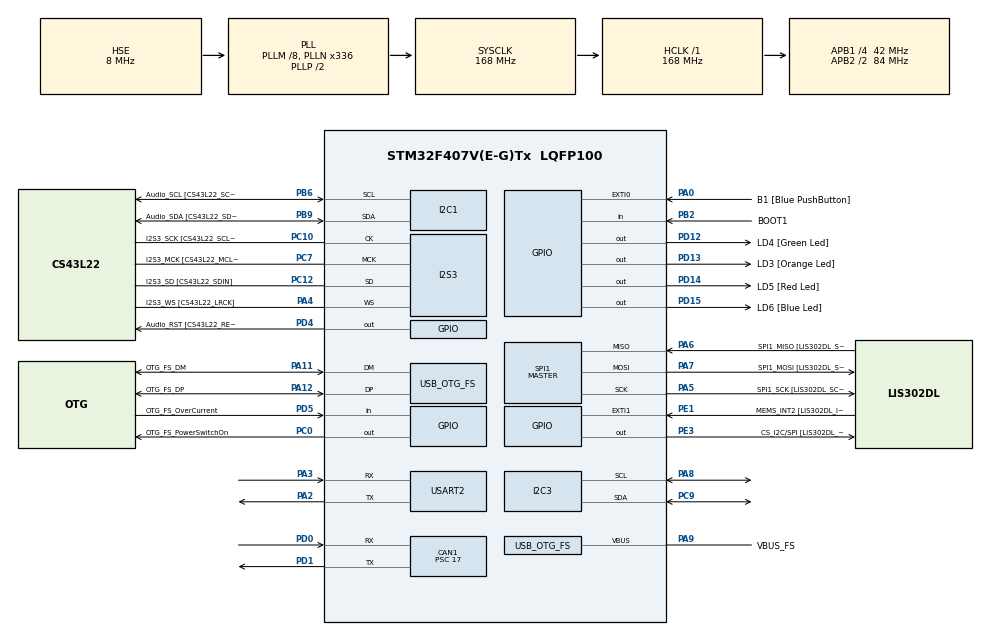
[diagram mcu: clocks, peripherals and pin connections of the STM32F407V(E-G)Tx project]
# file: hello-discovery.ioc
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CAN1.BS1=CAN_BS1_6TQ
CAN1.BS2=CAN_BS2_3TQ
CAN1.CalculateBaudRate=247058
CAN1.CalculateTimeBit=4047
CAN1.CalculateTimeQuantum=404.76190476190476
CAN1.Prescaler=17
I2C3.I2C_Mode=I2C_Fast
I2S3.AudioFreq-Half_Duplex_Master=I2S_AUDIOFREQ_96K
I2S3.ErrorAudioFreq=-2.34 %
I2S3.ErrorAudioFreq-Half_Duplex_Master=0.8 %
I2S3.FullDuplexMode=I2S_FULLDUPLEXMODE_DISABLE
I2S3.Instance=SPI$Index
I2S3.RealAudioFreq=93.75 KHz
I2S3.RealAudioFreq-Half_Duplex_Master=96.774 KHz
I2S3.VirtualMode=I2S_MODE_MASTER
Mcu.Family=STM32F4
Mcu.Name=STM32F407V(E-G)Tx
Mcu.Package=LQFP100
NVIC.CAN1_RX0_IRQn=true\:0\:0\:false\:false\:true\:true\:true\:true
NVIC.OTG_FS_IRQn=true\:0\:0\:false\:false\:true\:true\:true\:true
NVIC.PriorityGroup=NVIC_PRIORITYGROUP_0
PA0-WKUP.GPIO_Label=B1 [Blue PushButton]
PA0-WKUP.GPIO_ModeDefaultEXTI=GPIO_MODE_EVT_RISING
PA0-WKUP.GPIO_PuPd=GPIO_NOPULL
PA0-WKUP.Signal=GPXTI0
PA10.GPIO_Label=OTG_FS_ID
PA10.GPIO_Mode=GPIO_MODE_AF_PP
PA10.GPIO_PuPd=GPIO_NOPULL
PA10.GPIO_Speed=GPIO_SPEED_FREQ_LOW
PA10.Signal=USB_OTG_FS_ID
PA11.GPIO_Label=OTG_FS_DM
PA11.GPIO_Mode=GPIO_MODE_AF_PP
PA11.GPIO_PuPd=GPIO_NOPULL
PA11.GPIO_Speed=GPIO_SPEED_FREQ_LOW
PA11.Mode=Host_Only
PA11.Signal=USB_OTG_FS_DM
PA12.GPIO_Label=OTG_FS_DP
PA12.GPIO_Mode=GPIO_MODE_AF_PP
PA12.GPIO_PuPd=GPIO_NOPULL
PA12.GPIO_Speed=GPIO_SPEED_FREQ_LOW
PA12.Mode=Host_Only
PA12.Signal=USB_OTG_FS_DP
PA13.GPIO_Label=SWDIO
PA13.Mode=Serial_Wire
PA13.Signal=SYS_JTMS-SWDIO
PA14.GPIO_Label=SWCLK
PA14.Mode=Serial_Wire
PA14.Signal=SYS_JTCK-SWCLK
PA2.Mode=Asynchronous
PA2.Signal=USART2_TX
PA3.Mode=Asynchronous
PA3.Signal=USART2_RX
PA4.GPIO_Label=I2S3_WS [CS43L22_LRCK]
PA4.GPIO_Mode=GPIO_MODE_AF_PP
PA4.GPIO_PuPd=GPIO_NOPULL
PA4.GPIO_Speed=GPIO_SPEED_FREQ_LOW
PA4.Mode=Half_Duplex_Master
PA4.Signal=I2S3_WS
PA5.GPIO_Label=SPI1_SCK [LIS302DL_SCL/SPC]
PA5.GPIO_Mode=GPIO_MODE_AF_PP
PA5.GPIO_PuPd=GPIO_NOPULL
PA5.GPIO_Speed=GPIO_SPEED_FREQ_LOW
PA5.Mode=Full_Duplex_Master
PA5.Signal=SPI1_SCK
PA6.GPIO_Label=SPI1_MISO [LIS302DL_SDO]
PA6.GPIO_Mode=GPIO_MODE_AF_PP
PA6.GPIO_PuPd=GPIO_NOPULL
PA6.GPIO_Speed=GPIO_SPEED_FREQ_LOW
PA6.Mode=Full_Duplex_Master
PA6.Signal=SPI1_MISO
PA7.GPIO_Label=SPI1_MOSI [LIS302DL_SDA/SDI/SDO]
PA7.GPIO_Mode=GPIO_MODE_AF_PP
PA7.GPIO_PuPd=GPIO_NOPULL
PA7.GPIO_Speed=GPIO_SPEED_FREQ_LOW
PA7.Mode=Full_Duplex_Master
PA7.Signal=SPI1_MOSI
PA8.Mode=I2C
PA8.Signal=I2C3_SCL
PA9.GPIO_Label=VBUS_FS
PA9.GPIO_Mode=GPIO_MODE_INPUT
PA9.GPIO_PuPd=GPIO_NOPULL
PA9.Mode=Activate_VBUS
PA9.Signal=USB_OTG_FS_VBUS
PB10.GPIO_Label=CLK_IN [MP45DT02_CLK]
PB10.GPIO_Mode=GPIO_MODE_AF_PP
PB10.GPIO_PuPd=GPIO_NOPULL
PB10.GPIO_Speed=GPIO_SPEED_FREQ_LOW
PB10.Signal=I2S2_CK
PB2.GPIO_Label=BOOT1
PB2.GPIO_Mode=GPIO_MODE_INPUT
PB2.GPIO_PuPd=GPIO_NOPULL
PB2.Signal=GPIO_Input
PB3.GPIO_Label=SWO
PB3.Signal=SYS_JTDO-SWO
PB6.GPIO_Label=Audio_SCL [CS43L22_SCL]
PB6.GPIO_Mode=GPIO_MODE_AF_OD
PB6.GPIO_Pu=GPIO_PULLUP
PB6.GPIO_PuPd=GPIO_NOPULL
PB6.GPIO_Speed=GPIO_SPEED_FREQ_LOW
PB6.Mode=I2C
PB6.Signal=I2C1_SCL
PB9.GPIO_Label=Audio_SDA [CS43L22_SDA]
PB9.GPIO_Mode=GPIO_MODE_AF_OD
PB9.GPIO_Pu=GPIO_PULLUP
PB9.GPIO_PuPd=GPIO_NOPULL
PB9.GPIO_Speed=GPIO_SPEED_FREQ_LOW
PB9.Mode=I2C
PB9.Signal=I2C1_SDA
PC0.GPIO_Label=OTG_FS_PowerSwitchOn
PC0.GPIO_PuPd=GPIO_NOPULL
PC0.GPIO_Speed=GPIO_SPEED_FREQ_LOW
PC0.PinState=GPIO_PIN_SET
PC0.Signal=GPIO_Output
PC10.GPIO_Label=I2S3_SCK [CS43L22_SCLK]
PC10.GPIO_Mode=GPIO_MODE_AF_PP
PC10.GPIO_PuPd=GPIO_NOPULL
PC10.GPIO_Speed=GPIO_SPEED_FREQ_LOW
PC10.Mode=Half_Duplex_Master
PC10.Signal=I2S3_CK
PC12.GPIO_Label=I2S3_SD [CS43L22_SDIN]
PC12.GPIO_Mode=GPIO_MODE_AF_PP
PC12.GPIO_PuPd=GPIO_NOPULL
PC12.GPIO_Speed=GPIO_SPEED_FREQ_LOW
PC12.Mode=Half_Duplex_Master
PC12.Signal=I2S3_SD
PC14-OSC32_IN.GPIO_Label=PC14-OSC32_IN
PC14-OSC32_IN.Mode=LSE-External-Oscillator
PC14-OSC32_IN.Signal=RCC_OSC32_IN
PC15-OSC32_OUT.GPIO_Label=PC15-OSC32_OUT
PC15-OSC32_OUT.Mode=LSE-External-Oscillator
PC15-OSC32_OUT.Signal=RCC_OSC32_OUT
PC3.GPIO_Label=PDM_OUT [MP45DT02_DOUT]
PC3.GPIO_Mode=GPIO_MODE_AF_PP
PC3.GPIO_PuPd=GPIO_NOPULL
PC3.GPIO_Speed=GPIO_SPEED_FREQ_LOW
PC3.Signal=I2S2_SD
PC7.GPIO_Label=I2S3_MCK [CS43L22_MCLK]
PC7.GPIO_Mode=GPIO_MODE_AF_PP
PC7.GPIO_PuPd=GPIO_NOPULL
PC7.GPIO_Speed=GPIO_SPEED_FREQ_LOW
PC7.Mode=Master_Clock_Activated
PC7.Signal=I2S3_MCK
PC9.Mode=I2C
PC9.Signal=I2C3_SDA
PD0.Mode=CAN_Activate
PD0.Signal=CAN1_RX
PD1.Mode=CAN_Activate
PD1.Signal=CAN1_TX
PD12.GPIO_Label=LD4 [Green Led]
PD12.GPIO_PuPd=GPIO_NOPULL
PD12.GPIO_Speed=GPIO_SPEED_FREQ_LOW
PD12.Signal=GPIO_Output
PD13.GPIO_Label=LD3 [Orange Led]
PD13.GPIO_PuPd=GPIO_NOPULL
PD13.GPIO_Speed=GPIO_SPEED_FREQ_LOW
PD13.Signal=GPIO_Output
PD14.GPIO_Label=LD5 [Red Led]
PD14.GPIO_PuPd=GPIO_NOPULL
PD14.GPIO_Speed=GPIO_SPEED_FREQ_LOW
PD14.Signal=GPIO_Output
PD15.GPIO_Label=LD6 [Blue Led]
PD15.GPIO_PuPd=GPIO_NOPULL
PD15.GPIO_Speed=GPIO_SPEED_FREQ_LOW
PD15.Signal=GPIO_Output
PD4.GPIO_Label=Audio_RST [CS43L22_RESET]
PD4.GPIO_PuPd=GPIO_NOPULL
PD4.GPIO_Speed=GPIO_SPEED_FREQ_LOW
PD4.Signal=GPIO_Output
PD5.GPIO_Label=OTG_FS_OverCurrent
PD5.GPIO_Mode=GPIO_MODE_INPUT
PD5.GPIO_PuPd=GPIO_NOPULL
PD5.Signal=GPIO_Input
PE1.GPIO_Label=MEMS_INT2 [LIS302DL_INT2]
PE1.GPIO_ModeDefaultEXTI=GPIO_MODE_EVT_RISING
PE1.GPIO_PuPd=GPIO_NOPULL
PE1.Signal=GPXTI1
PE3.GPIO_Label=CS_I2C/SPI [LIS302DL_CS_I2C/SPI]
PE3.GPIO_PuPd=GPIO_NOPULL
PE3.GPIO_Speed=GPIO_SPEED_FREQ_LOW
PE3.Signal=GPIO_Output
PH0-OSC_IN.GPIO_Label=PH0-OSC_IN
PH0-OSC_IN.Mode=HSE-External-Oscillator
PH0-OSC_IN.Signal=RCC_OSC_IN
PH1-OSC_OUT.GPIO_Label=PH1-OSC_OUT
PH1-OSC_OUT.Mode=HSE-External-Oscillator
PH1-OSC_OUT.Signal=RCC_OSC_OUT
ProjectManager.HeapSize=0x200
ProjectManager.StackSize=0x400
ProjectManager.TargetToolchain=STM32CubeIDE
RCC.48MHZClocksFreq_Value=48000000
RCC.AHBFreq_Value=168000000
RCC.APB1CLKDivider=RCC_HCLK_DIV4
RCC.APB1Freq_Value=42000000
RCC.APB1TimFreq_Value=84000000
RCC.APB2CLKDivider=RCC_HCLK_DIV2
RCC.APB2Freq_Value=84000000
RCC.APB2TimFreq_Value=168000000
RCC.CortexFreq_Value=168000000
RCC.HCLKFreq_Value=168000000
RCC.HSE_VALUE=8000000
RCC.HSI_VALUE=16000000
RCC.PLLM=8
RCC.PLLN=336
RCC.PLLQ=7
RCC.SYSCLKFreq_VALUE=168000000
RCC.SYSCLKSource=RCC_SYSCLKSOURCE_PLLCLK
RCC.VCOOutputFreq_Value=336000000
SPI1.BaudRatePrescaler-Full_Duplex_Master=SPI_BAUDRATEPRESCALER_2
SPI1.CalculateBaudRate-Full_Duplex_Master=42.0 MBits/s
SPI1.Direction=SPI_DIRECTION_2LINES
SPI1.Mode=SPI_MODE_MASTER
SPI1.Mode-Full_Duplex_Master=SPI_MODE_MASTER
SPI1.VirtualType=VM_MASTER
USART2.VirtualMode=VM_ASYNC
USB_HOST.BSP.number=1
USB_HOST.USBH_HandleTypeDef-CDC_FS=hUsbHostFS
USB_HOST.VirtualModeFS=Cdc
USB_HOST0.BSP.STBoard=false
USB_HOST0.BSP.api=Unknown
USB_HOST0.BSP.instance=PC0
USB_HOST0.BSP.ip=GPIO
USB_HOST0.BSP.mode=Output
USB_HOST0.BSP.name=Drive_VBUS_FS
USB_HOST0.BSP.solution=PC0
USB_OTG_FS.VirtualMode=Host_Only
USB_OTG_FS.phy_itface=HCD_PHY_EMBEDDED
VP_USB_HOST_VS_USB_HOST_CDC_FS.Mode=CDC_FS
board=STM32F407G-DISC1

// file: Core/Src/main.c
/* USER CODE BEGIN Header */
/**
  ******************************************************************************
  * @file           : main.c
  * @brief          : Main program body
  ******************************************************************************
  * @attention
  *
  * Copyright (c) 2022 STMicroelectronics.
  * All rights reserved.
  *
  * This software is licensed under terms that can be found in the LICENSE file
  * in the root directory of this software component.
  * If no LICENSE file comes with this software, it is provided AS-IS.
  *
  ******************************************************************************
  */
/* USER CODE END Header */
#include "main.h"
#include "usb_host.h"

/* USER CODE BEGIN Includes */
#include <stdio.h>
/* USER CODE END Includes */

CAN_HandleTypeDef hcan1;

I2C_HandleTypeDef hi2c1;
I2C_HandleTypeDef hi2c3;

I2S_HandleTypeDef hi2s3;

SPI_HandleTypeDef hspi1;

UART_HandleTypeDef huart2;

void SystemClock_Config(void);
static void MX_GPIO_Init(void);
static void MX_I2C1_Init(void);
static void MX_I2S3_Init(void);
static void MX_SPI1_Init(void);
static void MX_USART2_UART_Init(void);
static void MX_CAN1_Init(void);
static void MX_I2C3_Init(void);
void MX_USB_HOST_Process(void);

/* USER CODE BEGIN 0 */

CAN_RxHeaderTypeDef rxHeader; //CAN Bus Transmit Header
CAN_TxHeaderTypeDef txHeader; //CAN Bus Receive Header
uint8_t canRX[8] = {0,0,0,0,0,0,0,0};  //CAN Bus Receive Buffer
CAN_FilterTypeDef canfil; //CAN Bus Filter
uint32_t canMailbox; //CAN Bus Mail box variable

/* USER CODE END 0 */

int main(void)
{

  /* MCU Configuration--------------------------------------------------------*/

  /* Reset of all peripherals, Initializes the Flash interface and the Systick. */
  HAL_Init();

  /* Configure the system clock */
  SystemClock_Config();

  /* Initialize all configured peripherals */
  MX_GPIO_Init();
  MX_I2C1_Init();
  MX_I2S3_Init();
  MX_SPI1_Init();
  MX_USB_HOST_Init();
  MX_USART2_UART_Init();
  MX_CAN1_Init();
  MX_I2C3_Init();
  /* USER CODE BEGIN 2 */

#define PUTCHAR_PROTOTYPE int __io_putchar(int ch)

  canfil.FilterBank = 0;
  canfil.FilterMode = CAN_FILTERMODE_IDMASK;
  canfil.FilterFIFOAssignment = CAN_RX_FIFO0;
  canfil.FilterIdHigh = 0;
  canfil.FilterIdLow = 0;
  canfil.FilterMaskIdHigh = 0;
  canfil.FilterMaskIdLow = 0;
  canfil.FilterScale = CAN_FILTERSCALE_32BIT;
  canfil.FilterActivation = ENABLE;
  canfil.SlaveStartFilterBank = 14;

  txHeader.DLC = 8; // Number of bites to be transmitted max- 8
  txHeader.IDE = CAN_ID_STD;
  txHeader.RTR = CAN_RTR_DATA;
  txHeader.StdId = 0x030;
  txHeader.ExtId = 0x02;
  txHeader.TransmitGlobalTime = DISABLE;

  HAL_CAN_ConfigFilter(&hcan1,&canfil); //Initialize CAN Filter
  HAL_CAN_Start(&hcan1); //Initialize CAN Bus
  HAL_CAN_ActivateNotification(&hcan1,CAN_IT_RX_FIFO0_MSG_PENDING);// Initialize CAN Bus Rx Interrupt

  /* USER CODE END 2 */

  /* Infinite loop */
  /* USER CODE BEGIN WHILE */
	static const uint8_t MPU6500_ADDR = 0x68 << 1; // Use 8-bit address
	HAL_StatusTypeDef ret;
	uint8_t buf[16];
	uint8_t who_am_i_addr[1] = {0x75};

  while (1)
  {
    /* USER CODE END WHILE */
    MX_USB_HOST_Process();

    /* USER CODE BEGIN 3 */
    HAL_GPIO_TogglePin(LD6_GPIO_Port, LD6_Pin);
    HAL_Delay(100);
    printf("Hello from STM32CubeIDE TICK: %lu\n\r", HAL_GetTick());
    uint8_t csend[] = {0x01,0x02,0x03,0x04,0x05,0x06,0x07,0x08}; // Tx Buffer
    HAL_StatusTypeDef cout = HAL_CAN_AddTxMessage(&hcan1,&txHeader,csend,&canMailbox); // Send Message
    printf("HAL_CAN_AddTxMessage return value: %u\n\r", cout);

    /* First we send the memory location address where start reading data */
    ret = HAL_I2C_Master_Transmit(&hi2c3, MPU6500_ADDR, who_am_i_addr, 1, HAL_MAX_DELAY);
    if(ret != HAL_OK){
    	printf("I2C Transmit failed\n\r");
    }
    /* Next we can retrieve the data from EEPROM */
    ret = HAL_I2C_Master_Receive(&hi2c3, MPU6500_ADDR, buf, 1, HAL_MAX_DELAY);
    if(ret != HAL_OK){
    	printf("I2C Receive failed\n\r");
	}
    printf("I2c Receive value: %u\n\r", buf[0]);
  }
  /* USER CODE END 3 */
}

void SystemClock_Config(void)
{
  RCC_OscInitTypeDef RCC_OscInitStruct = {0};
  RCC_ClkInitTypeDef RCC_ClkInitStruct = {0};

  /** Configure the main internal regulator output voltage
  */
  __HAL_RCC_PWR_CLK_ENABLE();
  __HAL_PWR_VOLTAGESCALING_CONFIG(PWR_REGULATOR_VOLTAGE_SCALE1);

  /** Initializes the RCC Oscillators according to the specified parameters
  * in the RCC_OscInitTypeDef structure.
  */
  RCC_OscInitStruct.OscillatorType = RCC_OSCILLATORTYPE_HSE;
  RCC_OscInitStruct.HSEState = RCC_HSE_ON;
  RCC_OscInitStruct.PLL.PLLState = RCC_PLL_ON;
  RCC_OscInitStruct.PLL.PLLSource = RCC_PLLSOURCE_HSE;
  RCC_OscInitStruct.PLL.PLLM = 8;
  RCC_OscInitStruct.PLL.PLLN = 336;
  RCC_OscInitStruct.PLL.PLLP = RCC_PLLP_DIV2;
  RCC_OscInitStruct.PLL.PLLQ = 7;
  if (HAL_RCC_OscConfig(&RCC_OscInitStruct) != HAL_OK)
  {
    Error_Handler();
  }

  /** Initializes the CPU, AHB and APB buses clocks
  */
  RCC_ClkInitStruct.ClockType = RCC_CLOCKTYPE_HCLK|RCC_CLOCKTYPE_SYSCLK
                              |RCC_CLOCKTYPE_PCLK1|RCC_CLOCKTYPE_PCLK2;
  RCC_ClkInitStruct.SYSCLKSource = RCC_SYSCLKSOURCE_PLLCLK;
  RCC_ClkInitStruct.AHBCLKDivider = RCC_SYSCLK_DIV1;
  RCC_ClkInitStruct.APB1CLKDivider = RCC_HCLK_DIV4;
  RCC_ClkInitStruct.APB2CLKDivider = RCC_HCLK_DIV2;

  if (HAL_RCC_ClockConfig(&RCC_ClkInitStruct, FLASH_LATENCY_5) != HAL_OK)
  {
    Error_Handler();
  }
}

static void MX_CAN1_Init(void)
{

  hcan1.Instance = CAN1;
  hcan1.Init.Prescaler = 17;
  hcan1.Init.Mode = CAN_MODE_NORMAL;
  hcan1.Init.SyncJumpWidth = CAN_SJW_1TQ;
  hcan1.Init.TimeSeg1 = CAN_BS1_6TQ;
  hcan1.Init.TimeSeg2 = CAN_BS2_3TQ;
  hcan1.Init.TimeTriggeredMode = DISABLE;
  hcan1.Init.AutoBusOff = DISABLE;
  hcan1.Init.AutoWakeUp = DISABLE;
  hcan1.Init.AutoRetransmission = DISABLE;
  hcan1.Init.ReceiveFifoLocked = DISABLE;
  hcan1.Init.TransmitFifoPriority = DISABLE;
  if (HAL_CAN_Init(&hcan1) != HAL_OK)
  {
    Error_Handler();
  }

}

static void MX_I2C1_Init(void)
{

  hi2c1.Instance = I2C1;
  hi2c1.Init.ClockSpeed = 100000;
  hi2c1.Init.DutyCycle = I2C_DUTYCYCLE_2;
  hi2c1.Init.OwnAddress1 = 0;
  hi2c1.Init.AddressingMode = I2C_ADDRESSINGMODE_7BIT;
  hi2c1.Init.DualAddressMode = I2C_DUALADDRESS_DISABLE;
  hi2c1.Init.OwnAddress2 = 0;
  hi2c1.Init.GeneralCallMode = I2C_GENERALCALL_DISABLE;
  hi2c1.Init.NoStretchMode = I2C_NOSTRETCH_DISABLE;
  if (HAL_I2C_Init(&hi2c1) != HAL_OK)
  {
    Error_Handler();
  }

}

static void MX_I2C3_Init(void)
{

  hi2c3.Instance = I2C3;
  hi2c3.Init.ClockSpeed = 400000;
  hi2c3.Init.DutyCycle = I2C_DUTYCYCLE_2;
  hi2c3.Init.OwnAddress1 = 0;
  hi2c3.Init.AddressingMode = I2C_ADDRESSINGMODE_7BIT;
  hi2c3.Init.DualAddressMode = I2C_DUALADDRESS_DISABLE;
  hi2c3.Init.OwnAddress2 = 0;
  hi2c3.Init.GeneralCallMode = I2C_GENERALCALL_DISABLE;
  hi2c3.Init.NoStretchMode = I2C_NOSTRETCH_DISABLE;
  if (HAL_I2C_Init(&hi2c3) != HAL_OK)
  {
    Error_Handler();
  }

}

static void MX_I2S3_Init(void)
{

  hi2s3.Instance = SPI3;
  hi2s3.Init.Mode = I2S_MODE_MASTER_TX;
  hi2s3.Init.Standard = I2S_STANDARD_PHILIPS;
  hi2s3.Init.DataFormat = I2S_DATAFORMAT_16B;
  hi2s3.Init.MCLKOutput = I2S_MCLKOUTPUT_ENABLE;
  hi2s3.Init.AudioFreq = I2S_AUDIOFREQ_96K;
  hi2s3.Init.CPOL = I2S_CPOL_LOW;
  hi2s3.Init.ClockSource = I2S_CLOCK_PLL;
  hi2s3.Init.FullDuplexMode = I2S_FULLDUPLEXMODE_DISABLE;
  if (HAL_I2S_Init(&hi2s3) != HAL_OK)
  {
    Error_Handler();
  }

}

static void MX_SPI1_Init(void)
{

  /* SPI1 parameter configuration*/
  hspi1.Instance = SPI1;
  hspi1.Init.Mode = SPI_MODE_MASTER;
  hspi1.Init.Direction = SPI_DIRECTION_2LINES;
  hspi1.Init.DataSize = SPI_DATASIZE_8BIT;
  hspi1.Init.CLKPolarity = SPI_POLARITY_LOW;
  hspi1.Init.CLKPhase = SPI_PHASE_1EDGE;
  hspi1.Init.NSS = SPI_NSS_SOFT;
  hspi1.Init.BaudRatePrescaler = SPI_BAUDRATEPRESCALER_2;
  hspi1.Init.FirstBit = SPI_FIRSTBIT_MSB;
  hspi1.Init.TIMode = SPI_TIMODE_DISABLE;
  hspi1.Init.CRCCalculation = SPI_CRCCALCULATION_DISABLE;
  hspi1.Init.CRCPolynomial = 10;
  if (HAL_SPI_Init(&hspi1) != HAL_OK)
  {
    Error_Handler();
  }

}

static void MX_USART2_UART_Init(void)
{

  huart2.Instance = USART2;
  huart2.Init.BaudRate = 115200;
  huart2.Init.WordLength = UART_WORDLENGTH_8B;
  huart2.Init.StopBits = UART_STOPBITS_1;
  huart2.Init.Parity = UART_PARITY_NONE;
  huart2.Init.Mode = UART_MODE_TX_RX;
  huart2.Init.HwFlowCtl = UART_HWCONTROL_NONE;
  huart2.Init.OverSampling = UART_OVERSAMPLING_16;
  if (HAL_UART_Init(&huart2) != HAL_OK)
  {
    Error_Handler();
  }

}

static void MX_GPIO_Init(void)
{
  GPIO_InitTypeDef GPIO_InitStruct = {0};

  /* GPIO Ports Clock Enable */
  __HAL_RCC_GPIOE_CLK_ENABLE();
  __HAL_RCC_GPIOC_CLK_ENABLE();
  __HAL_RCC_GPIOH_CLK_ENABLE();
  __HAL_RCC_GPIOA_CLK_ENABLE();
  __HAL_RCC_GPIOB_CLK_ENABLE();
  __HAL_RCC_GPIOD_CLK_ENABLE();

  /*Configure GPIO pin Output Level */
  HAL_GPIO_WritePin(CS_I2C_SPI_GPIO_Port, CS_I2C_SPI_Pin, GPIO_PIN_RESET);

  /*Configure GPIO pin Output Level */
  HAL_GPIO_WritePin(OTG_FS_PowerSwitchOn_GPIO_Port, OTG_FS_PowerSwitchOn_Pin, GPIO_PIN_SET);

  /*Configure GPIO pin Output Level */
  HAL_GPIO_WritePin(GPIOD, LD4_Pin|LD3_Pin|LD5_Pin|LD6_Pin
                          |Audio_RST_Pin, GPIO_PIN_RESET);

  /*Configure GPIO pin : CS_I2C_SPI_Pin */
  GPIO_InitStruct.Pin = CS_I2C_SPI_Pin;
  GPIO_InitStruct.Mode = GPIO_MODE_OUTPUT_PP;
  GPIO_InitStruct.Pull = GPIO_NOPULL;
  GPIO_InitStruct.Speed = GPIO_SPEED_FREQ_LOW;
  HAL_GPIO_Init(CS_I2C_SPI_GPIO_Port, &GPIO_InitStruct);

  /*Configure GPIO pin : OTG_FS_PowerSwitchOn_Pin */
  GPIO_InitStruct.Pin = OTG_FS_PowerSwitchOn_Pin;
  GPIO_InitStruct.Mode = GPIO_MODE_OUTPUT_PP;
  GPIO_InitStruct.Pull = GPIO_NOPULL;
  GPIO_InitStruct.Speed = GPIO_SPEED_FREQ_LOW;
  HAL_GPIO_Init(OTG_FS_PowerSwitchOn_GPIO_Port, &GPIO_InitStruct);

  /*Configure GPIO pin : PDM_OUT_Pin */
  GPIO_InitStruct.Pin = PDM_OUT_Pin;
  GPIO_InitStruct.Mode = GPIO_MODE_AF_PP;
  GPIO_InitStruct.Pull = GPIO_NOPULL;
  GPIO_InitStruct.Speed = GPIO_SPEED_FREQ_LOW;
  GPIO_InitStruct.Alternate = GPIO_AF5_SPI2;
  HAL_GPIO_Init(PDM_OUT_GPIO_Port, &GPIO_InitStruct);

  /*Configure GPIO pin : B1_Pin */
  GPIO_InitStruct.Pin = B1_Pin;
  GPIO_InitStruct.Mode = GPIO_MODE_EVT_RISING;
  GPIO_InitStruct.Pull = GPIO_NOPULL;
  HAL_GPIO_Init(B1_GPIO_Port, &GPIO_InitStruct);

  /*Configure GPIO pin : BOOT1_Pin */
  GPIO_InitStruct.Pin = BOOT1_Pin;
  GPIO_InitStruct.Mode = GPIO_MODE_INPUT;
  GPIO_InitStruct.Pull = GPIO_NOPULL;
  HAL_GPIO_Init(BOOT1_GPIO_Port, &GPIO_InitStruct);

  /*Configure GPIO pin : CLK_IN_Pin */
  GPIO_InitStruct.Pin = CLK_IN_Pin;
  GPIO_InitStruct.Mode = GPIO_MODE_AF_PP;
  GPIO_InitStruct.Pull = GPIO_NOPULL;
  GPIO_InitStruct.Speed = GPIO_SPEED_FREQ_LOW;
  GPIO_InitStruct.Alternate = GPIO_AF5_SPI2;
  HAL_GPIO_Init(CLK_IN_GPIO_Port, &GPIO_InitStruct);

  /*Configure GPIO pins : LD4_Pin LD3_Pin LD5_Pin LD6_Pin
                           Audio_RST_Pin */
  GPIO_InitStruct.Pin = LD4_Pin|LD3_Pin|LD5_Pin|LD6_Pin
                          |Audio_RST_Pin;
  GPIO_InitStruct.Mode = GPIO_MODE_OUTPUT_PP;
  GPIO_InitStruct.Pull = GPIO_NOPULL;
  GPIO_InitStruct.Speed = GPIO_SPEED_FREQ_LOW;
  HAL_GPIO_Init(GPIOD, &GPIO_InitStruct);

  /*Configure GPIO pin : OTG_FS_OverCurrent_Pin */
  GPIO_InitStruct.Pin = OTG_FS_OverCurrent_Pin;
  GPIO_InitStruct.Mode = GPIO_MODE_INPUT;
  GPIO_InitStruct.Pull = GPIO_NOPULL;
  HAL_GPIO_Init(OTG_FS_OverCurrent_GPIO_Port, &GPIO_InitStruct);

  /*Configure GPIO pin : MEMS_INT2_Pin */
  GPIO_InitStruct.Pin = MEMS_INT2_Pin;
  GPIO_InitStruct.Mode = GPIO_MODE_EVT_RISING;
  GPIO_InitStruct.Pull = GPIO_NOPULL;
  HAL_GPIO_Init(MEMS_INT2_GPIO_Port, &GPIO_InitStruct);

}

/* USER CODE BEGIN 4 */
/**
  * @brief  Retargets the C library printf function to the USART.
  * @param  None
  * @retval None
  */
PUTCHAR_PROTOTYPE
{
  /* Place your implementation of fputc here */
  /* e.g. write a character to the USART1 and Loop until the end of transmission */
  HAL_UART_Transmit(&huart2, (uint8_t *)&ch, 1, 0xFFFF);

  return ch;
}

void HAL_CAN_RxFifo0MsgPendingCallback(CAN_HandleTypeDef *hcan1)
{
	HAL_CAN_GetRxMessage(hcan1, CAN_RX_FIFO0, &rxHeader, canRX); //Receive CAN bus message to canRX buffer
	HAL_GPIO_TogglePin(LD4_GPIO_Port, LD4_Pin);

}
/* USER CODE END 4 */

void Error_Handler(void)
{
  __disable_irq();
  while (1)
  {
  }
}
